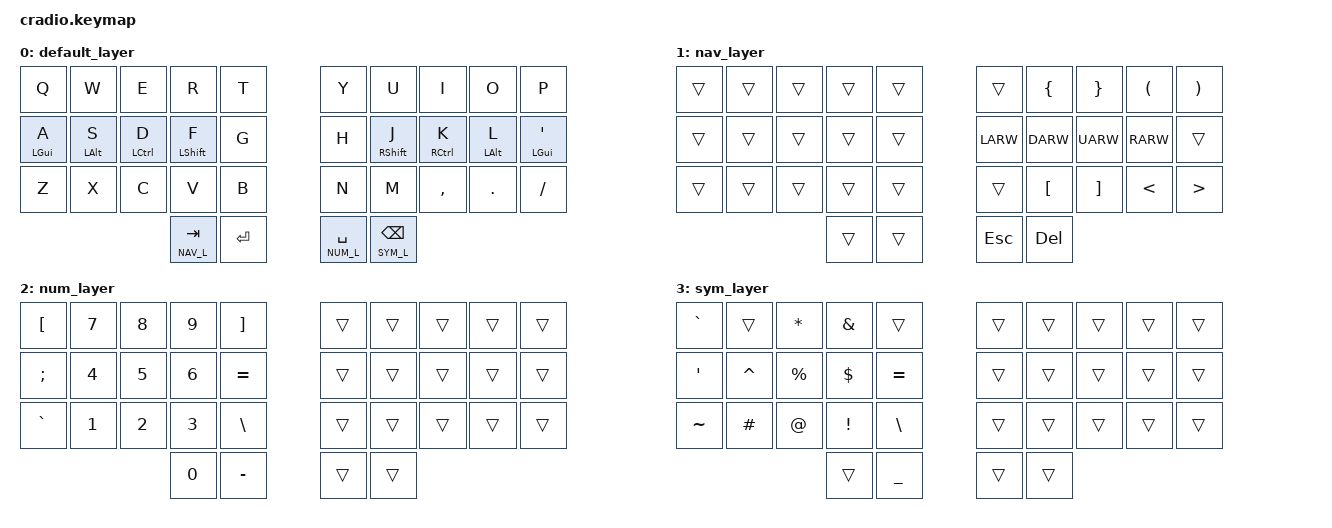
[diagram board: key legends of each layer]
/*
 * Copyright (c) 2020 The ZMK Contributors
 *
 * SPDX-License-Identifier: MIT
 */

#include <behaviors.dtsi>
#include <dt-bindings/zmk/keys.h>
#include <dt-bindings/zmk/bt.h>

#define NAV_L 1
#define NUM_L 2
#define SYM_L 3

&mt { };

// Using layer taps on thumbs, having quick tap as well helps w/ repeating space/backspace
&lt { quick_tap_ms = <200>; };

/ {
    combos {
        compatible = "zmk,combos";
        combo_esc {
            timeout-ms = <50>;
            key-positions = <0 9>;
            bindings = <&kp ESC>;
        };
        combo_minus {
            timeout-ms = <50>;
            key-positions = <3 6>;
            bindings = <&kp MINUS>;
        };
        combo_under {
            timeout-ms = <50>;
            key-positions = <23 26>;
            bindings = <&kp UNDER>;
        };
        combo_caps {
            timeout-ms = <50>;
            key-positions = <20 29>;
            bindings = <&caps_word>;
        };
    };

    behaviors {
        hm: homerow_mods {
            compatible = "zmk,behavior-hold-tap";
            label = "homerow mods";
            #binding-cells = <2>;
            tapping_term_ms = <200>;
            flavor = "tap-preferred";
            bindings = <&kp>, <&kp>;
        };
    };

    keymap {
        compatible = "zmk,keymap";

        default_layer {
            bindings = <
                &kp Q      &kp W      &kp E       &kp R          &kp T                   &kp Y  &kp U          &kp I       &kp O      &kp P
                &hm LGUI A &hm LALT S &hm LCTRL D &hm LSHFT F    &kp G                   &kp H  &hm RSHFT J    &hm RCTRL K &hm LALT L &hm LGUI QUOT
                &kp Z      &kp X      &kp C       &kp V          &kp B                   &kp N  &kp M          &kp COMMA   &kp DOT    &kp FSLH
                                                  &lt NAV_L TAB  &kp ENTER     &lt NUM_L SPACE  &lt SYM_L BKSP
            >;
        };

        nav_layer {
            bindings = <
                &trans  &trans  &trans  &trans  &trans                 &trans    &kp LBRC  &kp RBRC  &kp LPAR  &kp RPAR
                &trans  &trans  &trans  &trans  &trans                 &kp LARW  &kp DARW  &kp UARW  &kp RARW  &trans
                &trans  &trans  &trans  &trans  &trans                 &trans    &kp LBKT  &kp RBKT  &kp LT    &kp GT
                                        &trans  &trans                 &kp ESC   &kp DEL
            >;
        };

        num_layer {
            bindings = <
                &kp LBKT   &kp N7  &kp N8  &kp N9  &kp RBKT          &trans  &trans  &trans  &trans  &trans
                &kp SEMI   &kp N4  &kp N5  &kp N6  &kp EQUAL         &trans  &trans  &trans  &trans  &trans
                &kp GRAVE  &kp N1  &kp N2  &kp N3  &kp BSLH          &trans  &trans  &trans  &trans  &trans
                                           &kp N0  &kp MINUS         &trans  &trans
            >;
        };

        sym_layer {
            bindings = <
                &kp GRAVE  &trans     &kp ASTRK  &kp AMPS  &trans             &trans  &trans  &trans  &trans  &trans
                &kp APOS   &kp CARET  &kp PRCNT  &kp DLLR  &kp EQUAL          &trans  &trans  &trans  &trans  &trans
                &kp TILDE  &kp HASH   &kp AT     &kp EXCL  &kp BSLH           &trans  &trans  &trans  &trans  &trans
                                                 &trans    &kp UNDER          &trans  &trans
            >;
        };
    };
};
